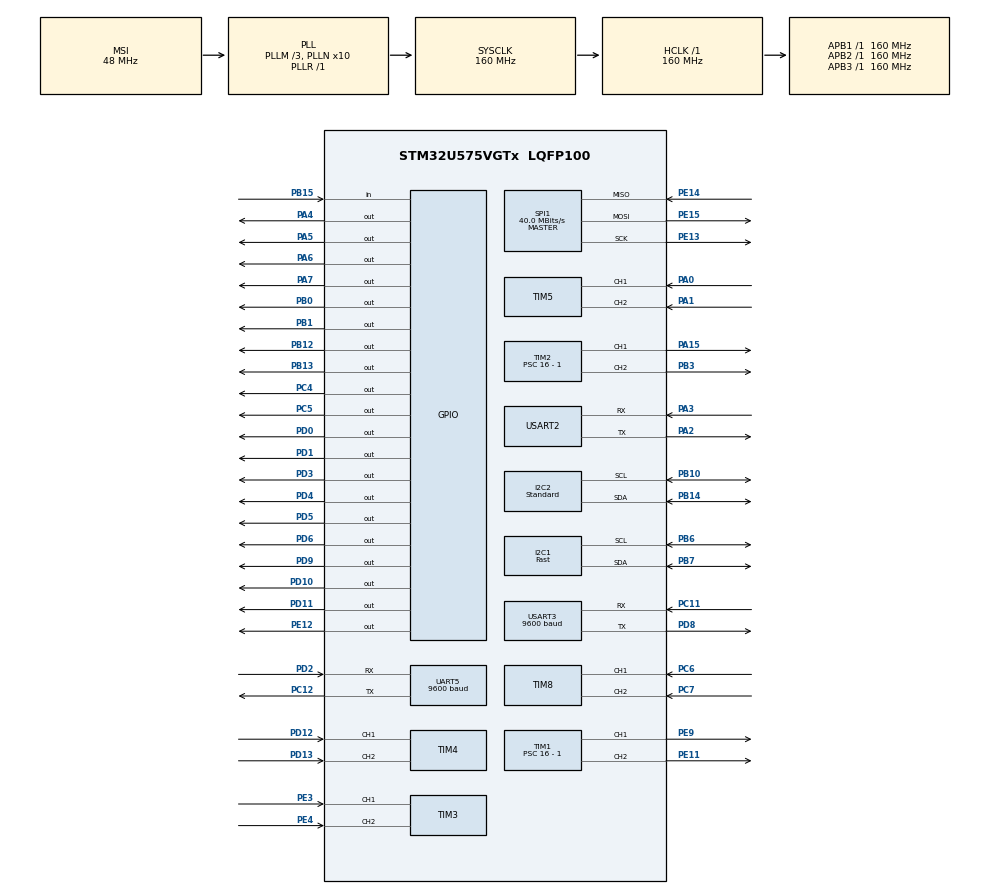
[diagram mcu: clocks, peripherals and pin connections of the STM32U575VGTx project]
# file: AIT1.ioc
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CORTEX_M33_NS.userName=CORTEX_M33
I2C1.I2C_Speed_Mode=I2C_Fast
I2C1.Timing=0x00F07BFF
I2C2.I2C_Coeff_DF=15
I2C2.I2C_Speed_Mode=I2C_Standard
I2C2.Timing=0x40707BB9
Mcu.Family=STM32U5
Mcu.Name=STM32U575VGTx
Mcu.Package=LQFP100
NVIC.I2C2_ER_IRQn=true\:0\:0\:false\:false\:true\:true\:true\:true
NVIC.I2C2_EV_IRQn=true\:0\:0\:false\:false\:true\:true\:true\:true
NVIC.PriorityGroup=NVIC_PRIORITYGROUP_4
NVIC.UART5_IRQn=true\:0\:0\:false\:false\:true\:true\:true\:true
NVIC.USART3_IRQn=true\:0\:0\:false\:false\:true\:true\:true\:true
PA0.Signal=S_TIM5_CH1
PA1.Signal=S_TIM5_CH2
PA13\ (JTMS/SWDIO).Mode=Serial_Wire
PA13\ (JTMS/SWDIO).Signal=DEBUG_JTMS-SWDIO
PA14\ (JTCK/SWCLK).Mode=Serial_Wire
PA14\ (JTCK/SWCLK).Signal=DEBUG_JTCK-SWCLK
PA15\ (JTDI).Signal=S_TIM2_CH1
PA2.Mode=Asynchronous
PA2.Signal=USART2_TX
PA3.Mode=Asynchronous
PA3.Signal=USART2_RX
PA4.Signal=GPIO_Output
PA5.Signal=GPIO_Output
PA6.Signal=GPIO_Output
PA7.Signal=GPIO_Output
PB0.Signal=GPIO_Output
PB1.Signal=GPIO_Output
PB10.GPIO_Pu=GPIO_PULLUP
PB10.GPIO_Speed=GPIO_SPEED_FREQ_VERY_HIGH
PB10.Mode=I2C
PB10.Signal=I2C2_SCL
PB12.GPIO_PuPd=GPIO_NOPULL
PB12.GPIO_Speed=GPIO_SPEED_FREQ_VERY_HIGH
PB12.PinState=GPIO_PIN_SET
PB12.Signal=GPIO_Output
PB13.Signal=GPIO_Output
PB14.GPIO_Pu=GPIO_PULLUP
PB14.GPIO_Speed=GPIO_SPEED_FREQ_VERY_HIGH
PB14.Mode=I2C
PB14.Signal=I2C2_SDA
PB15.Signal=GPIO_Input
PB3\ (JTDO/TRACESWO).Signal=S_TIM2_CH2
PB6.GPIO_Speed=GPIO_SPEED_FREQ_VERY_HIGH
PB6.Mode=I2C
PB6.Signal=I2C1_SCL
PB7.GPIO_Speed=GPIO_SPEED_FREQ_VERY_HIGH
PB7.Mode=I2C
PB7.Signal=I2C1_SDA
PC11.Mode=Asynchronous
PC11.Signal=USART3_RX
PC12.Mode=Asynchronous
PC12.Signal=UART5_TX
PC4.Signal=GPIO_Output
PC5.Signal=GPIO_Output
PC6.Signal=S_TIM8_CH1
PC7.Signal=S_TIM8_CH2
PD0.PinState=GPIO_PIN_RESET
PD0.Signal=GPIO_Output
PD1.PinState=GPIO_PIN_RESET
PD1.Signal=GPIO_Output
PD10.PinState=GPIO_PIN_SET
PD10.Signal=GPIO_Output
PD11.PinState=GPIO_PIN_SET
PD11.Signal=GPIO_Output
PD12.Signal=S_TIM4_CH1
PD13.Signal=S_TIM4_CH2
PD2.Mode=Asynchronous
PD2.Signal=UART5_RX
PD3.Signal=GPIO_Output
PD4.Signal=GPIO_Output
PD5.Signal=GPIO_Output
PD6.Signal=GPIO_Output
PD8.Mode=Asynchronous
PD8.Signal=USART3_TX
PD9.PinState=GPIO_PIN_SET
PD9.Signal=GPIO_Output
PE11.Signal=S_TIM1_CH2
PE12.Signal=GPIO_Output
PE13.GPIO_Speed=GPIO_SPEED_FREQ_VERY_HIGH
PE13.Mode=Full_Duplex_Master
PE13.Signal=SPI1_SCK
PE14.GPIO_Speed=GPIO_SPEED_FREQ_VERY_HIGH
PE14.Mode=Full_Duplex_Master
PE14.Signal=SPI1_MISO
PE15.GPIO_Speed=GPIO_SPEED_FREQ_VERY_HIGH
PE15.Mode=Full_Duplex_Master
PE15.Signal=SPI1_MOSI
PE3.Signal=S_TIM3_CH1
PE4.Signal=S_TIM3_CH2
PE9.Signal=S_TIM1_CH1
PH0-OSC_IN\ (PH0).Mode=HSE-External-Oscillator
PH0-OSC_IN\ (PH0).Signal=RCC_OSC_IN
PH1-OSC_OUT\ (PH1).Mode=HSE-External-Oscillator
PH1-OSC_OUT\ (PH1).Signal=RCC_OSC_OUT
ProjectManager.HeapSize=0x200
ProjectManager.StackSize=0x400
ProjectManager.TargetToolchain=STM32CubeIDE
RCC.ADCFreq_Value=16000000
RCC.AHBFreq_Value=160000000
RCC.APB1Freq_Value=160000000
RCC.APB1TimFreq_Value=160000000
RCC.APB2Freq_Value=160000000
RCC.APB2TimFreq_Value=160000000
RCC.APB3Freq_Value=160000000
RCC.CortexFreq_Value=160000000
RCC.EPOD_VALUE=48000000
RCC.HCLKFreq_Value=160000000
RCC.HSE_VALUE=16000000
RCC.HSI48_VALUE=48000000
RCC.HSI_VALUE=16000000
RCC.LSE_VALUE=32768
RCC.LSIDIV_VALUE=32000
RCC.MSIClockRange=RCC_MSIRANGE_0
RCC.MSI_VALUE=48000000
RCC.PLL1R=1
RCC.PLL2FRACN=0
RCC.PLL3FRACN=0
RCC.PLLFRACN=0
RCC.PLLM=3
RCC.PLLN=10
RCC.SYSCLKFreq_VALUE=160000000
RCC.SYSCLKSource=RCC_SYSCLKSOURCE_PLLCLK
RCC.USBFreq_Value=48000000
RCC.VCOOutputFreq_Value=160000000
SH.S_TIM1_CH1.0=TIM1_CH1,PWM Generation1 CH1
SH.S_TIM1_CH2.0=TIM1_CH2,PWM Generation2 CH2
SH.S_TIM2_CH1.0=TIM2_CH1,PWM Generation1 CH1
SH.S_TIM2_CH2.0=TIM2_CH2,PWM Generation2 CH2
SH.S_TIM3_CH1.0=TIM3_CH1,Encoder_Interface
SH.S_TIM3_CH2.0=TIM3_CH2,Encoder_Interface
SH.S_TIM4_CH1.0=TIM4_CH1,Encoder_Interface
SH.S_TIM4_CH2.0=TIM4_CH2,Encoder_Interface
SH.S_TIM5_CH1.0=TIM5_CH1,Encoder_Interface
SH.S_TIM5_CH2.0=TIM5_CH2,Encoder_Interface
SH.S_TIM8_CH1.0=TIM8_CH1,Encoder_Interface
SH.S_TIM8_CH2.0=TIM8_CH2,Encoder_Interface
SPI1.BaudRatePrescaler=SPI_BAUDRATEPRESCALER_4
SPI1.CalculateBaudRate=40.0 MBits/s
SPI1.DataSize=SPI_DATASIZE_8BIT
SPI1.Direction=SPI_DIRECTION_2LINES
SPI1.Mode=SPI_MODE_MASTER
SPI1.NSSPMode=SPI_NSS_PULSE_DISABLE
SPI1.VirtualType=VM_MASTER
TIM1.AutoReloadPreload=TIM_AUTORELOAD_PRELOAD_ENABLE
TIM1.Channel-PWM\ Generation1\ CH1=TIM_CHANNEL_1
TIM1.Channel-PWM\ Generation2\ CH2=TIM_CHANNEL_2
TIM1.PeriodNoDither=100 -1 
TIM1.Prescaler=16 - 1
TIM2.Channel-PWM\ Generation1\ CH1=TIM_CHANNEL_1
TIM2.Channel-PWM\ Generation2\ CH2=TIM_CHANNEL_2
TIM2.PeriodNoDither=100 - 1
TIM2.Prescaler=16 - 1
TIM3.AutoReloadPreload=TIM_AUTORELOAD_PRELOAD_ENABLE
TIM3.IC1Filter=15
TIM3.IC2Filter=15
TIM3.IC2Polarity=TIM_ICPOLARITY_FALLING
TIM4.IC1Filter=15
TIM4.IC2Filter=15
TIM4.IC2Polarity=TIM_ICPOLARITY_FALLING
TIM5.IC1Filter=15
TIM5.IC2Filter=15
TIM6.Prescaler=160 - 1
TIM8.IC1Filter=15
TIM8.IC2Filter=15
UART5.BaudRate=9600
USART2.VirtualMode-Asynchronous=VM_ASYNC
USART3.BaudRate=9600
USART3.VirtualMode-Asynchronous=VM_ASYNC
VP_LPBAMQUEUE_VS_QUEUE.Mode=QUEUEMODE
VP_LPBAM_VS_SIG1.Mode=SmartRun
VP_LPBAM_VS_SIG4.Mode=LPDMA1
VP_MEMORYMAP_VS_MEMORYMAP.Mode=CurAppReg
VP_PWR_VS_SECSignals.Mode=Security/Privilege
VP_TIM1_VS_ClockSourceINT.Mode=Internal
VP_TIM2_VS_ClockSourceINT.Mode=Internal
VP_TIM6_VS_ClockSourceINT.Mode=Enable_Timer
board=custom

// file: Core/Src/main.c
/* USER CODE BEGIN Header */
/**
 ******************************************************************************
 * @file           : main.c
 * @brief          : Main program body
 ******************************************************************************
 * @attention
 *
 * Copyright (c) 2025 STMicroelectronics.
 * All rights reserved.
 *
 * This software is licensed under terms that can be found in the LICENSE file
 * in the root directory of this software component.
 * If no LICENSE file comes with this software, it is provided AS-IS.
 *
 ******************************************************************************
 */
/* USER CODE END Header */
#include "main.h"
#include "i2c.h"
#include "memorymap.h"
#include "spi.h"
#include "tim.h"
#include "usart.h"
#include "gpio.h"

/* USER CODE BEGIN Includes */
#include "mybsp.h"
// 串口重定向
#include <stdio.h>
struct __FILE
{
  int handle;
  /* Whatever you require here. If the only file you are using is */
  /* standard output using printf() for debugging, no file handling */
  /* is required. */
};
/* FILE is typedef'd in stdio.h. */
FILE __stdout;
int fputc(int ch, FILE *f)
{
  HAL_UART_Transmit(&huart2, (uint8_t *)&ch, 1, 50); // 采集数据和电脑通信，用此串口
  //	HAL_UART_Transmit(&huart3, (uint8_t*) &ch, 1, 50);//ESP8266交互
  /* Your implementation of fputc(). */
  return ch;
}
int _write(int file, char *ptr, int len) // IDE的环境必须额外添加才可以实现重定向的功能
{
  HAL_UART_Transmit(&huart2, (uint8_t *)ptr, len, HAL_MAX_DELAY); // 采集数据和电脑通信，用此串口
  //	HAL_UART_Transmit(&huart3, (uint8_t*) ptr, len, HAL_MAX_DELAY);//ESP8266交互
  return len;
}

/* USER CODE END Includes */

void SystemClock_Config(void);

/* USER CODE BEGIN 0 */
lv_ui guider_ui;
/* USER CODE END 0 */

int main(void)
{

  /* MCU Configuration--------------------------------------------------------*/

  /* Reset of all peripherals, Initializes the Flash interface and the Systick. */
  HAL_Init();

  /* Configure the system clock */
  SystemClock_Config();

  /* Initialize all configured peripherals */
  MX_GPIO_Init();
  MX_TIM1_Init();
  MX_TIM2_Init();
  MX_TIM3_Init();
  MX_TIM4_Init();
  MX_TIM5_Init();
  MX_TIM8_Init();
  MX_I2C1_Init();
  MX_I2C2_Init();
  MX_SPI1_Init();
  MX_USART2_UART_Init();
  MX_USART3_UART_Init();
  MX_TIM6_Init();
  MX_UART5_Init();
  /* USER CODE BEGIN 2 */
  peri_init();

  /*  LVGL设置   */
  setup_ui(&guider_ui);
  events_init(&guider_ui);

  /* USER CODE END 2 */

  /* Infinite loop */
  while (1)
  {

    /* USER CODE BEGIN 3 */
    task_proc();
    lv_tick_inc(10);
    lv_timer_handler();
    HAL_Delay(10);
  }
  /* USER CODE END 3 */
}

void SystemClock_Config(void)
{
  RCC_OscInitTypeDef RCC_OscInitStruct = {0};
  RCC_ClkInitTypeDef RCC_ClkInitStruct = {0};

  /** Configure the main internal regulator output voltage
  */
  if (HAL_PWREx_ControlVoltageScaling(PWR_REGULATOR_VOLTAGE_SCALE1) != HAL_OK)
  {
    Error_Handler();
  }

  /** Initializes the CPU, AHB and APB buses clocks
  */
  RCC_OscInitStruct.OscillatorType = RCC_OSCILLATORTYPE_MSI;
  RCC_OscInitStruct.MSIState = RCC_MSI_ON;
  RCC_OscInitStruct.MSICalibrationValue = RCC_MSICALIBRATION_DEFAULT;
  RCC_OscInitStruct.MSIClockRange = RCC_MSIRANGE_0;
  RCC_OscInitStruct.PLL.PLLState = RCC_PLL_ON;
  RCC_OscInitStruct.PLL.PLLSource = RCC_PLLSOURCE_MSI;
  RCC_OscInitStruct.PLL.PLLMBOOST = RCC_PLLMBOOST_DIV4;
  RCC_OscInitStruct.PLL.PLLM = 3;
  RCC_OscInitStruct.PLL.PLLN = 10;
  RCC_OscInitStruct.PLL.PLLP = 2;
  RCC_OscInitStruct.PLL.PLLQ = 2;
  RCC_OscInitStruct.PLL.PLLR = 1;
  RCC_OscInitStruct.PLL.PLLRGE = RCC_PLLVCIRANGE_1;
  RCC_OscInitStruct.PLL.PLLFRACN = 0;
  if (HAL_RCC_OscConfig(&RCC_OscInitStruct) != HAL_OK)
  {
    Error_Handler();
  }

  /** Initializes the CPU, AHB and APB buses clocks
  */
  RCC_ClkInitStruct.ClockType = RCC_CLOCKTYPE_HCLK|RCC_CLOCKTYPE_SYSCLK
                              |RCC_CLOCKTYPE_PCLK1|RCC_CLOCKTYPE_PCLK2
                              |RCC_CLOCKTYPE_PCLK3;
  RCC_ClkInitStruct.SYSCLKSource = RCC_SYSCLKSOURCE_PLLCLK;
  RCC_ClkInitStruct.AHBCLKDivider = RCC_SYSCLK_DIV1;
  RCC_ClkInitStruct.APB1CLKDivider = RCC_HCLK_DIV1;
  RCC_ClkInitStruct.APB2CLKDivider = RCC_HCLK_DIV1;
  RCC_ClkInitStruct.APB3CLKDivider = RCC_HCLK_DIV1;

  if (HAL_RCC_ClockConfig(&RCC_ClkInitStruct, FLASH_LATENCY_4) != HAL_OK)
  {
    Error_Handler();
  }
}

/* USER CODE BEGIN 4 */
// 这是 GT911 中断的回调函数，在 EXTI 中断触发时会被 HAL 库调用
// 请确保这个函数是在 stm32fxxx_it.c 文件中，且是你的 GT911 INT 引脚对应的回调
void HAL_GPIO_EXTI_Callback(uint16_t GPIO_Pin)
{
}
/* USER CODE END 4 */

void Error_Handler(void)
{
  /* USER CODE BEGIN Error_Handler_Debug */
  /* User can add his own implementation to report the HAL error return state */
  printf("!!!! ERROR HANDLER CALLED !!!!\r\n"); // 添加调试信息
  __disable_irq();                              // 发生错误时，禁用所有中断，停止执行
  while (1)
  {
  }
  /* USER CODE END Error_Handler_Debug */
}

#ifdef  USE_FULL_ASSERT
/**
  * @brief  Reports the name of the source file and the source line number
  *         where the assert_param error has occurred.
  * @param  file: pointer to the source file name
  * @param  line: assert_param error line source number
  * @retval None
  */
void assert_failed(uint8_t *file, uint32_t line)
{
  /* USER CODE BEGIN 6 */
  printf("ASSERT FAILED: file %s on line %d\r\n", file, line); // 添加调试信息
  /* User can add his own implementation to report the file name and line number,
     ex: printf("Wrong parameters value: file %s on line %d\r\n", file, line) */
  /* USER CODE END 6 */
}
#endif /* USE_FULL_ASSERT */
